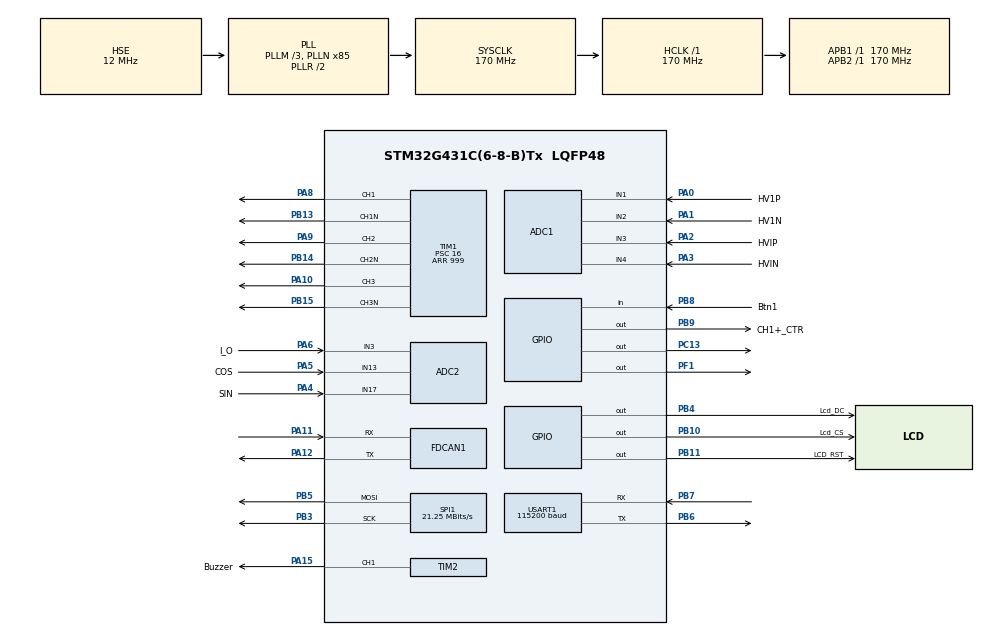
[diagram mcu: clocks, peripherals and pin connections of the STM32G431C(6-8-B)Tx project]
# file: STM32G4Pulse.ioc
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ADC1.Channel-4\#ChannelRegularConversion=ADC_CHANNEL_1
ADC1.Channel-5\#ChannelRegularConversion=ADC_CHANNEL_3
ADC1.DMAContinuousRequests=ENABLE
ADC1.ExternalTrigConv=ADC_EXTERNALTRIG_T7_TRGO
ADC1.NbrOfConversion=2
ADC1.NbrOfConversionFlag=1
ADC1.OffsetNumber-4\#ChannelRegularConversion=ADC_OFFSET_NONE
ADC1.OffsetNumber-5\#ChannelRegularConversion=ADC_OFFSET_NONE
ADC1.OversamplingMode=ENABLE
ADC1.Rank-4\#ChannelRegularConversion=1
ADC1.Rank-5\#ChannelRegularConversion=2
ADC1.Ratio=ADC_OVERSAMPLING_RATIO_256
ADC1.RightBitShift=ADC_RIGHTBITSHIFT_8
ADC1.SamplingTime-4\#ChannelRegularConversion=ADC_SAMPLETIME_12CYCLES_5
ADC1.SamplingTime-5\#ChannelRegularConversion=ADC_SAMPLETIME_12CYCLES_5
ADC1.SingleDiff-4\#ChannelRegularConversion=ADC_DIFFERENTIAL_ENDED
ADC1.SingleDiff-5\#ChannelRegularConversion=ADC_DIFFERENTIAL_ENDED
ADC1.master=1
ADC2.Channel-0\#ChannelRegularConversion=ADC_CHANNEL_3
ADC2.Channel-1\#ChannelRegularConversion=ADC_CHANNEL_13
ADC2.Channel-2\#ChannelRegularConversion=ADC_CHANNEL_17
ADC2.DMAContinuousRequests=ENABLE
ADC2.ExternalTrigConv=ADC_EXTERNALTRIG_T7_TRGO
ADC2.NbrOfConversion=3
ADC2.NbrOfConversionFlag=1
ADC2.OffsetNumber-0\#ChannelRegularConversion=ADC_OFFSET_NONE
ADC2.OffsetNumber-1\#ChannelRegularConversion=ADC_OFFSET_NONE
ADC2.OffsetNumber-2\#ChannelRegularConversion=ADC_OFFSET_NONE
ADC2.OversamplingMode=ENABLE
ADC2.Rank-0\#ChannelRegularConversion=1
ADC2.Rank-1\#ChannelRegularConversion=2
ADC2.Rank-2\#ChannelRegularConversion=3
ADC2.Ratio=ADC_OVERSAMPLING_RATIO_32
ADC2.RightBitShift=ADC_RIGHTBITSHIFT_6
ADC2.SamplingTime-0\#ChannelRegularConversion=ADC_SAMPLETIME_24CYCLES_5
ADC2.SamplingTime-1\#ChannelRegularConversion=ADC_SAMPLETIME_24CYCLES_5
ADC2.SamplingTime-2\#ChannelRegularConversion=ADC_SAMPLETIME_24CYCLES_5
COMP1.Hysteresis=COMP_HYSTERESIS_HIGH
COMP1.InvertingInput=COMP_INPUT_MINUS_DAC3_CH1
COMP1.TriggerMode=COMP_TRIGGERMODE_IT_RISING
COMP2.Hysteresis=COMP_HYSTERESIS_HIGH
COMP2.InvertingInput=COMP_INPUT_MINUS_DAC3_CH2
COMP2.TriggerMode=COMP_TRIGGERMODE_IT_RISING
DAC3.DAC_Channel-DAC_OUT2_Int=DAC_CHANNEL_2
Dma.ADC1.0.Direction=DMA_PERIPH_TO_MEMORY
Dma.ADC1.0.EventEnable=DISABLE
Dma.ADC1.0.Instance=DMA1_Channel1
Dma.ADC1.0.MemDataAlignment=DMA_MDATAALIGN_WORD
Dma.ADC1.0.MemInc=DMA_MINC_ENABLE
Dma.ADC1.0.Mode=DMA_CIRCULAR
Dma.ADC1.0.PeriphDataAlignment=DMA_PDATAALIGN_WORD
Dma.ADC1.0.PeriphInc=DMA_PINC_DISABLE
Dma.ADC1.0.Polarity=HAL_DMAMUX_REQ_GEN_RISING
Dma.ADC1.0.Priority=DMA_PRIORITY_LOW
Dma.ADC1.0.RequestNumber=1
Dma.ADC1.0.SignalID=NONE
Dma.ADC1.0.SyncEnable=DISABLE
Dma.ADC1.0.SyncPolarity=HAL_DMAMUX_SYNC_NO_EVENT
Dma.ADC1.0.SyncRequestNumber=1
Dma.ADC1.0.SyncSignalID=NONE
Dma.ADC2.1.Direction=DMA_PERIPH_TO_MEMORY
Dma.ADC2.1.EventEnable=DISABLE
Dma.ADC2.1.Instance=DMA1_Channel2
Dma.ADC2.1.MemDataAlignment=DMA_MDATAALIGN_WORD
Dma.ADC2.1.MemInc=DMA_MINC_ENABLE
Dma.ADC2.1.Mode=DMA_CIRCULAR
Dma.ADC2.1.PeriphDataAlignment=DMA_PDATAALIGN_WORD
Dma.ADC2.1.PeriphInc=DMA_PINC_DISABLE
Dma.ADC2.1.Polarity=HAL_DMAMUX_REQ_GEN_RISING
Dma.ADC2.1.Priority=DMA_PRIORITY_LOW
Dma.ADC2.1.RequestNumber=1
Dma.ADC2.1.SignalID=NONE
Dma.ADC2.1.SyncEnable=DISABLE
Dma.ADC2.1.SyncPolarity=HAL_DMAMUX_SYNC_NO_EVENT
Dma.ADC2.1.SyncRequestNumber=1
Dma.ADC2.1.SyncSignalID=NONE
Dma.Request0=ADC1
Dma.Request1=ADC2
Dma.Request2=USART1_RX
Dma.Request3=USART1_TX
Dma.USART1_RX.2.Direction=DMA_PERIPH_TO_MEMORY
Dma.USART1_RX.2.EventEnable=DISABLE
Dma.USART1_RX.2.Instance=DMA1_Channel3
Dma.USART1_RX.2.MemDataAlignment=DMA_MDATAALIGN_BYTE
Dma.USART1_RX.2.MemInc=DMA_MINC_ENABLE
Dma.USART1_RX.2.Mode=DMA_NORMAL
Dma.USART1_RX.2.PeriphDataAlignment=DMA_PDATAALIGN_BYTE
Dma.USART1_RX.2.PeriphInc=DMA_PINC_DISABLE
Dma.USART1_RX.2.Polarity=HAL_DMAMUX_REQ_GEN_RISING
Dma.USART1_RX.2.Priority=DMA_PRIORITY_LOW
Dma.USART1_RX.2.RequestNumber=1
Dma.USART1_RX.2.SignalID=NONE
Dma.USART1_RX.2.SyncEnable=DISABLE
Dma.USART1_RX.2.SyncPolarity=HAL_DMAMUX_SYNC_NO_EVENT
Dma.USART1_RX.2.SyncRequestNumber=1
Dma.USART1_RX.2.SyncSignalID=NONE
Dma.USART1_TX.3.Direction=DMA_MEMORY_TO_PERIPH
Dma.USART1_TX.3.EventEnable=DISABLE
Dma.USART1_TX.3.Instance=DMA1_Channel4
Dma.USART1_TX.3.MemDataAlignment=DMA_MDATAALIGN_BYTE
Dma.USART1_TX.3.MemInc=DMA_MINC_ENABLE
Dma.USART1_TX.3.Mode=DMA_NORMAL
Dma.USART1_TX.3.PeriphDataAlignment=DMA_PDATAALIGN_BYTE
Dma.USART1_TX.3.PeriphInc=DMA_PINC_DISABLE
Dma.USART1_TX.3.Polarity=HAL_DMAMUX_REQ_GEN_RISING
Dma.USART1_TX.3.Priority=DMA_PRIORITY_LOW
Dma.USART1_TX.3.RequestNumber=1
Dma.USART1_TX.3.SignalID=NONE
Dma.USART1_TX.3.SyncEnable=DISABLE
Dma.USART1_TX.3.SyncPolarity=HAL_DMAMUX_SYNC_NO_EVENT
Dma.USART1_TX.3.SyncRequestNumber=1
Dma.USART1_TX.3.SyncSignalID=NONE
FDCAN1.CalculateBaudRateNominal=1000000
FDCAN1.CalculateTimeBitNominal=1000
FDCAN1.CalculateTimeQuantumNominal=100.0
FDCAN1.ClockDivider=FDCAN_CLOCK_DIV1
FDCAN1.DataPrescaler=1
FDCAN1.DataTimeSeg1=1
FDCAN1.DataTimeSeg2=1
FDCAN1.ExtFiltersNbr=1
FDCAN1.Mode=FDCAN_MODE_NORMAL
FDCAN1.NominalPrescaler=17
FDCAN1.NominalSyncJumpWidth=2
FDCAN1.NominalTimeSeg1=7
FDCAN1.NominalTimeSeg2=2
FDCAN1.StdFiltersNbr=1
IWDG.Prescaler=IWDG_PRESCALER_32
IWDG.Reload=999
IWDG.Window=999
Mcu.Family=STM32G4
Mcu.Name=STM32G431C(6-8-B)Tx
Mcu.Package=LQFP48
NVIC.COMP1_2_3_IRQn=true\:0\:0\:false\:false\:true\:false\:true\:true
NVIC.DMA1_Channel1_IRQn=true\:0\:0\:false\:false\:true\:false\:true\:true
NVIC.DMA1_Channel2_IRQn=true\:0\:0\:false\:false\:true\:false\:true\:true
NVIC.DMA1_Channel3_IRQn=true\:0\:0\:false\:false\:true\:false\:true\:true
NVIC.DMA1_Channel4_IRQn=true\:0\:0\:false\:false\:true\:false\:true\:true
NVIC.FDCAN1_IT0_IRQn=true\:0\:0\:false\:false\:true\:true\:true\:true
NVIC.PriorityGroup=NVIC_PRIORITYGROUP_4
NVIC.TIM1_BRK_TIM15_IRQn=true\:2\:0\:true\:false\:true\:true\:true\:true
NVIC.TIM1_TRG_COM_TIM17_IRQn=true\:0\:0\:false\:false\:true\:true\:true\:true
NVIC.TIM1_UP_TIM16_IRQn=true\:0\:0\:true\:false\:true\:true\:true\:true
NVIC.TIM6_DAC_IRQn=true\:0\:0\:true\:false\:true\:true\:true\:true
NVIC.TIM8_UP_IRQn=true\:0\:0\:false\:false\:true\:true\:true\:true
NVIC.USART1_IRQn=true\:0\:0\:false\:false\:true\:true\:true\:true
PA0.GPIO_Label=HV1P
PA0.Signal=SharedAnalog_PA0
PA1.GPIO_Label=HV1N
PA1.Signal=SharedAnalog_PA1
PA10.Signal=S_TIM1_CH3
PA11.Mode=FDCAN_Activate
PA11.Signal=FDCAN1_RX
PA12.Mode=FDCAN_Activate
PA12.Signal=FDCAN1_TX
PA13.Mode=Serial_Wire
PA13.Signal=SYS_JTMS-SWDIO
PA14.Mode=Serial_Wire
PA14.Signal=SYS_JTCK-SWCLK
PA15.GPIO_Label=Buzzer
PA15.Signal=S_TIM2_CH1
PA2.GPIO_Label=HVIP
PA2.Signal=SharedAnalog_PA2
PA3.GPIO_Label=HVIN
PA3.Signal=SharedAnalog_PA3
PA4.GPIO_Label=SIN
PA4.Mode=IN17-Single-Ended
PA4.Signal=ADC2_IN17
PA5.GPIO_Label=COS
PA5.Mode=IN13-Single-Ended
PA5.Signal=ADC2_IN13
PA6.GPIO_Label=I_O
PA6.Mode=IN3-Single-Ended
PA6.Signal=ADC2_IN3
PA8.GPIO_ModeDefaultPP=GPIO_MODE_AF_PP
PA8.Signal=S_TIM1_CH1
PA9.Signal=S_TIM1_CH2
PB10.GPIO_Label=Lcd_CS
PB10.GPIO_PuPd=GPIO_PULLUP
PB10.GPIO_Speed=GPIO_SPEED_FREQ_VERY_HIGH
PB10.PinState=GPIO_PIN_SET
PB10.Signal=GPIO_Output
PB11.GPIO_Label=LCD_RST
PB11.GPIO_PuPd=GPIO_PULLDOWN
PB11.PinState=GPIO_PIN_SET
PB11.Signal=GPIO_Output
PB13.Mode=PWM Generation1 CH1 CH1N
PB13.Signal=TIM1_CH1N
PB14.Mode=PWM Generation2 CH2 CH2N
PB14.Signal=TIM1_CH2N
PB15.Mode=PWM Generation3 CH3 CH3N
PB15.Signal=TIM1_CH3N
PB3.Mode=TX_Only_Simplex_Unidirect_Master
PB3.Signal=SPI1_SCK
PB4.GPIO_Label=Lcd_DC
PB4.Signal=GPIO_Output
PB5.Mode=TX_Only_Simplex_Unidirect_Master
PB5.Signal=SPI1_MOSI
PB6.Mode=Asynchronous
PB6.Signal=USART1_TX
PB7.Mode=Asynchronous
PB7.Signal=USART1_RX
PB8-BOOT0.GPIO_Label=Btn1
PB8-BOOT0.GPIO_PuPd=GPIO_PULLDOWN
PB8-BOOT0.Signal=GPIO_Input
PB9.GPIO_Label=CH1+_CTR
PB9.Signal=GPIO_Output
PC13.Signal=GPIO_Output
PF0-OSC_IN.Mode=HSE-External-Clock-Source
PF0-OSC_IN.Signal=RCC_OSC_IN
PF1-OSC_OUT.PinState=GPIO_PIN_RESET
PF1-OSC_OUT.Signal=GPIO_Output
ProjectManager.HeapSize=0x200
ProjectManager.StackSize=0x400
ProjectManager.TargetToolchain=STM32CubeIDE
RCC.ADC12Freq_Value=170000000
RCC.AHBFreq_Value=170000000
RCC.APB1Freq_Value=170000000
RCC.APB1TimFreq_Value=170000000
RCC.APB2Freq_Value=170000000
RCC.APB2TimFreq_Value=170000000
RCC.CortexFreq_Value=170000000
RCC.EXTERNAL_CLOCK_VALUE=12288000
RCC.HCLKFreq_Value=170000000
RCC.HSE_VALUE=12000000
RCC.HSI48_VALUE=48000000
RCC.HSI_VALUE=16000000
RCC.LSE_VALUE=32768
RCC.PLLM=RCC_PLLM_DIV3
RCC.PLLN=85
RCC.PLLSourceVirtual=RCC_PLLSOURCE_HSE
RCC.SYSCLKFreq_VALUE=170000000
RCC.SYSCLKSource=RCC_SYSCLKSOURCE_PLLCLK
RCC.USBFreq_Value=170000000
RCC.VCOOutputFreq_Value=340000000
SH.S_TIM1_CH1.0=TIM1_CH1,PWM Generation1 CH1 CH1N
SH.S_TIM1_CH2.0=TIM1_CH2,PWM Generation2 CH2 CH2N
SH.S_TIM1_CH3.0=TIM1_CH3,PWM Generation3 CH3 CH3N
SH.S_TIM2_CH1.0=TIM2_CH1,PWM Generation1 CH1
SH.SharedAnalog_PA0.0=COMP1_INM
SH.SharedAnalog_PA0.1=ADC1_IN1,IN1-Differential
SH.SharedAnalog_PA1.0=ADC1_IN2,IN1-Differential
SH.SharedAnalog_PA1.1=COMP1_INP,INP
SH.SharedAnalog_PA2.0=COMP2_INM
SH.SharedAnalog_PA2.1=ADC1_IN3,IN3-Differential
SH.SharedAnalog_PA3.0=ADC1_IN4,IN3-Differential
SH.SharedAnalog_PA3.1=COMP2_INP,INP
SPI1.BaudRatePrescaler=SPI_BAUDRATEPRESCALER_8
SPI1.CLKPhase=SPI_PHASE_2EDGE
SPI1.CLKPolarity=SPI_POLARITY_HIGH
SPI1.CalculateBaudRate=21.25 MBits/s
SPI1.DataSize=SPI_DATASIZE_8BIT
SPI1.Direction=SPI_DIRECTION_2LINES
SPI1.Mode=SPI_MODE_MASTER
SPI1.VirtualType=VM_MASTER
STMicroelectronics.X-CUBE-ALGOBUILD.1.4.0.LibraryCcDSPOoLibraryJjDSPOoLibrary=true
TIM1.AutoReloadPreload=TIM_AUTORELOAD_PRELOAD_ENABLE
TIM1.Channel-PWM\ Generation1\ CH1\ CH1N=TIM_CHANNEL_1
TIM1.Channel-PWM\ Generation2\ CH2\ CH2N=TIM_CHANNEL_2
TIM1.Channel-PWM\ Generation3\ CH3\ CH3N=TIM_CHANNEL_3
TIM1.DeadTime=199
TIM1.DeadTimePreload=ENABLE
TIM1.PeriodNoDither=999
TIM1.Prescaler=16
TIM1.PulseNoDither_1=499
TIM1.PulseNoDither_2=499
TIM1.PulseNoDither_3=499
TIM15.PeriodNoDither=999
TIM15.Prescaler=169
TIM16.PeriodNoDither=4999
TIM16.Prescaler=169
TIM17.PeriodNoDither=9999
TIM17.Prescaler=16999
TIM2.AutoReloadPreload=TIM_AUTORELOAD_PRELOAD_ENABLE
TIM2.Channel-PWM\ Generation1\ CH1=TIM_CHANNEL_1
TIM2.PeriodNoDither=249
TIM2.Prescaler=169
TIM2.PulseNoDither_1=124
TIM6.PeriodNoDither=999
TIM6.Prescaler=16
TIM7.PeriodNoDither=99
TIM7.Prescaler=84
TIM7.TIM_MasterOutputTrigger=TIM_TRGO_UPDATE
TIM8.PeriodNoDither=9999
TIM8.Prescaler=169
USART1.BaudRate=115200
USART1.VirtualMode-Asynchronous=VM_ASYNC
VP_COMP1_VS_DAC3OUT1.Mode=INM_DAC3OUT1
VP_COMP2_VS_DAC3OUT2.Mode=INM_DAC3OUT2
VP_DAC3_VS_DACI1.Mode=DAC_OUT1_Int
VP_DAC3_VS_DACI2.Mode=DAC_OUT2_Int
VP_IWDG_VS_IWDG.Mode=IWDG_Activate
VP_STMicroelectronics.X-CUBE-ALGOBUILD_VS_DSPOoLibraryJjLibrary_1.4.0_1.4.0.Mode=DSPOoLibraryJjLibrary
VP_SYS_VS_DBSignals.Mode=DisableDeadBatterySignals
VP_TIM15_VS_ClockSourceINT.Mode=Internal
VP_TIM16_VS_ClockSourceINT.Mode=Enable_Timer
VP_TIM17_VS_ClockSourceINT.Mode=Enable_Timer
VP_TIM1_VS_ClockSourceINT.Mode=Internal
VP_TIM2_VS_ClockSourceINT.Mode=Internal
VP_TIM6_VS_ClockSourceINT.Mode=Enable_Timer
VP_TIM7_VS_ClockSourceINT.Mode=Enable_Timer
VP_TIM8_VS_ClockSourceINT.Mode=Internal
board=custom

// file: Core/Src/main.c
/* USER CODE BEGIN Header */
/**
  ******************************************************************************
  * @file           : main.c
  * @brief          : Main program body
  ******************************************************************************
  * @attention
  *
  * Copyright (c) 2025 STMicroelectronics.
  * All rights reserved.
  *
  * This software is licensed under terms that can be found in the LICENSE file
  * in the root directory of this software component.
  * If no LICENSE file comes with this software, it is provided AS-IS.
  * n
  ******************************************************************************
  */
/* USER CODE END Header */
#include "main.h"

/* USER CODE BEGIN Includes */
#include <Bsp_Can.h>
#include <Bsp_Lcd.h>
#include <Bsp_Lcd_Init.h>
#include <Mid_Command_Usart.h>
#include <Mid_Command_Can.h>
#include <Mid_Control.h>
#include "Mid_Adc.h"
#include "main.h"

#include "APP_EFA.h"

#include "App_Button.h"
#include "App_Led.h"
#include "App_Can.h"
#include "App_Fault.h"
#include "App_Position_Sensor.h"
#include "App_Voltage_Current.h"

#include "Bsp_Adc.h"
#include "Bsp_Usart.h"
#include "Bsp_Can.h"
#include "Bsp_Control.h"

#include "App_Display.h"
#include "App_Button.h"
#include "App_Buzzer.h"

#include "Bsp_Led.h"
#include "Bsp_Button.h"
/* USER CODE END Includes */

/* USER CODE BEGIN PTD */
#define LCD_169_ENABLE
/* USER CODE END PTD */

/* USER CODE BEGIN PM */

/* USER CODE END PV */

Motor EFA_DATA;

/* USER CODE END PM */

ADC_HandleTypeDef hadc1;
ADC_HandleTypeDef hadc2;
DMA_HandleTypeDef hdma_adc1;
DMA_HandleTypeDef hdma_adc2;

COMP_HandleTypeDef hcomp1;
COMP_HandleTypeDef hcomp2;

DAC_HandleTypeDef hdac3;

FDCAN_HandleTypeDef hfdcan1;

IWDG_HandleTypeDef hiwdg;

SPI_HandleTypeDef hspi1;

TIM_HandleTypeDef htim1;
TIM_HandleTypeDef htim2;
TIM_HandleTypeDef htim6;
TIM_HandleTypeDef htim7;
TIM_HandleTypeDef htim8;
TIM_HandleTypeDef htim15;
TIM_HandleTypeDef htim16;
TIM_HandleTypeDef htim17;

UART_HandleTypeDef huart1;
DMA_HandleTypeDef hdma_usart1_rx;
DMA_HandleTypeDef hdma_usart1_tx;

void SystemClock_Config(void);
static void MX_GPIO_Init(void);
static void MX_DMA_Init(void);
static void MX_TIM2_Init(void);
static void MX_TIM1_Init(void);
static void MX_USART1_UART_Init(void);
static void MX_ADC1_Init(void);
static void MX_ADC2_Init(void);
static void MX_TIM7_Init(void);
static void MX_COMP1_Init(void);
static void MX_COMP2_Init(void);
static void MX_DAC3_Init(void);
static void MX_TIM6_Init(void);
static void MX_FDCAN1_Init(void);
static void MX_TIM16_Init(void);
static void MX_TIM17_Init(void);
static void MX_TIM15_Init(void);
static void MX_SPI1_Init(void);
static void MX_TIM8_Init(void);
static void MX_IWDG_Init(void);

/* USER CODE BEGIN 0 */
uint32_t Last_Sys_Time_ms = 0;
/* USER CODE END 0 */

int main(void)
{

  /* MCU Configuration--------------------------------------------------------*/

  /* Reset of all peripherals, Initializes the Flash interface and the Systick. */
  HAL_Init();

  /* Configure the system clock */
  SystemClock_Config();

  /* Initialize all configured peripherals */
  MX_GPIO_Init();
  MX_DMA_Init();
  MX_TIM2_Init();
  MX_TIM1_Init();
  MX_USART1_UART_Init();
  MX_ADC1_Init();
  MX_ADC2_Init();
  MX_TIM7_Init();
  MX_COMP1_Init();
  MX_COMP2_Init();
  MX_DAC3_Init();
  MX_TIM6_Init();
  MX_FDCAN1_Init();
  MX_TIM16_Init();
  MX_TIM17_Init();
  MX_TIM15_Init();
  MX_SPI1_Init();
  MX_TIM8_Init();
  MX_IWDG_Init();
  /* USER CODE BEGIN 2 */

  Bsp_Usart_Init();//板载串口Usart初始化

  Bsp_Close_All_Output();//关闭所有输出

  Bsp_Adc_Init();//板载ADC初始化配置

  Bsp_Can_Init();//板载Can接口初始化

  App_Button_Init();

  EFA_DATA.sin_offset = 1.65f;
  EFA_DATA.cos_offset = 1.65f;//磁栅传感器设置

  #ifdef LCD_169_ENABLE

	  LCD_Init();//LCD初始化
	  LCD_Fill(0,0,LCD_W,LCD_H,WHITE);

	  App_Display_Init();

   #endif

  HAL_TIM_Base_Start_IT(&htim6);//高频计算中断

  HAL_TIM_Base_Start_IT(&htim15);//用于LED状态修改

  HAL_TIM_Base_Start_IT(&htim16);//周期性返回CAN报文

  HAL_TIM_Base_Start_IT(&htim17);//CAN Heart中断

  App_Led_Set_State(SYS_STAT_IDLE);//Led灯状态    SYS_STAT_IDLE  SYS_STAT_WORKING, SYS_STAT_ERROR,

  /* USER CODE END 2 */

  /* Infinite loop */
  while (1)
  {

    /* USER CODE BEGIN 3 */

	  HAL_IWDG_Refresh(&hiwdg);//刷新看门狗

	  Mid_Can_Tx_Task();//Can报文发送任务

	  Mid_Can_Message_Process();//Can报文接收数据处理

	#ifdef LCD_169_ENABLE
	  App_Display_Update();
	#endif

	  if((HAL_GetTick() - Last_Sys_Time_ms) > 20)
	  {
		  Last_Sys_Time_ms = HAL_GetTick();
		  Button_Process();     //周期调用按键处理函数
	  }

	  App_Fault_Task_Handler();//错误处理函数

	  App_Buzzer_Task();//

	  App_Button_Task();

  }
  /* USER CODE END 3 */
}

void SystemClock_Config(void)
{
  RCC_OscInitTypeDef RCC_OscInitStruct = {0};
  RCC_ClkInitTypeDef RCC_ClkInitStruct = {0};

  /** Configure the main internal regulator output voltage
  */
  HAL_PWREx_ControlVoltageScaling(PWR_REGULATOR_VOLTAGE_SCALE1_BOOST);

  /** Initializes the RCC Oscillators according to the specified parameters
  * in the RCC_OscInitTypeDef structure.
  */
  RCC_OscInitStruct.OscillatorType = RCC_OSCILLATORTYPE_LSI|RCC_OSCILLATORTYPE_HSE;
  RCC_OscInitStruct.HSEState = RCC_HSE_BYPASS;
  RCC_OscInitStruct.LSIState = RCC_LSI_ON;
  RCC_OscInitStruct.PLL.PLLState = RCC_PLL_ON;
  RCC_OscInitStruct.PLL.PLLSource = RCC_PLLSOURCE_HSE;
  RCC_OscInitStruct.PLL.PLLM = RCC_PLLM_DIV3;
  RCC_OscInitStruct.PLL.PLLN = 85;
  RCC_OscInitStruct.PLL.PLLP = RCC_PLLP_DIV2;
  RCC_OscInitStruct.PLL.PLLQ = RCC_PLLQ_DIV2;
  RCC_OscInitStruct.PLL.PLLR = RCC_PLLR_DIV2;
  if (HAL_RCC_OscConfig(&RCC_OscInitStruct) != HAL_OK)
  {
    Error_Handler();
  }

  /** Initializes the CPU, AHB and APB buses clocks
  */
  RCC_ClkInitStruct.ClockType = RCC_CLOCKTYPE_HCLK|RCC_CLOCKTYPE_SYSCLK
                              |RCC_CLOCKTYPE_PCLK1|RCC_CLOCKTYPE_PCLK2;
  RCC_ClkInitStruct.SYSCLKSource = RCC_SYSCLKSOURCE_PLLCLK;
  RCC_ClkInitStruct.AHBCLKDivider = RCC_SYSCLK_DIV1;
  RCC_ClkInitStruct.APB1CLKDivider = RCC_HCLK_DIV1;
  RCC_ClkInitStruct.APB2CLKDivider = RCC_HCLK_DIV1;

  if (HAL_RCC_ClockConfig(&RCC_ClkInitStruct, FLASH_LATENCY_4) != HAL_OK)
  {
    Error_Handler();
  }
}

static void MX_ADC1_Init(void)
{

  ADC_MultiModeTypeDef multimode = {0};
  ADC_ChannelConfTypeDef sConfig = {0};

  /** Common config
  */
  hadc1.Instance = ADC1;
  hadc1.Init.ClockPrescaler = ADC_CLOCK_SYNC_PCLK_DIV4;
  hadc1.Init.Resolution = ADC_RESOLUTION_12B;
  hadc1.Init.DataAlign = ADC_DATAALIGN_RIGHT;
  hadc1.Init.GainCompensation = 0;
  hadc1.Init.ScanConvMode = ADC_SCAN_ENABLE;
  hadc1.Init.EOCSelection = ADC_EOC_SINGLE_CONV;
  hadc1.Init.LowPowerAutoWait = DISABLE;
  hadc1.Init.ContinuousConvMode = DISABLE;
  hadc1.Init.NbrOfConversion = 2;
  hadc1.Init.DiscontinuousConvMode = DISABLE;
  hadc1.Init.ExternalTrigConv = ADC_EXTERNALTRIG_T7_TRGO;
  hadc1.Init.ExternalTrigConvEdge = ADC_EXTERNALTRIGCONVEDGE_RISING;
  hadc1.Init.DMAContinuousRequests = ENABLE;
  hadc1.Init.Overrun = ADC_OVR_DATA_PRESERVED;
  hadc1.Init.OversamplingMode = ENABLE;
  hadc1.Init.Oversampling.Ratio = ADC_OVERSAMPLING_RATIO_256;
  hadc1.Init.Oversampling.RightBitShift = ADC_RIGHTBITSHIFT_8;
  hadc1.Init.Oversampling.TriggeredMode = ADC_TRIGGEREDMODE_SINGLE_TRIGGER;
  hadc1.Init.Oversampling.OversamplingStopReset = ADC_REGOVERSAMPLING_CONTINUED_MODE;
  if (HAL_ADC_Init(&hadc1) != HAL_OK)
  {
    Error_Handler();
  }

  /** Configure the ADC multi-mode
  */
  multimode.Mode = ADC_MODE_INDEPENDENT;
  if (HAL_ADCEx_MultiModeConfigChannel(&hadc1, &multimode) != HAL_OK)
  {
    Error_Handler();
  }

  /** Configure Regular Channel
  */
  sConfig.Channel = ADC_CHANNEL_1;
  sConfig.Rank = ADC_REGULAR_RANK_1;
  sConfig.SamplingTime = ADC_SAMPLETIME_12CYCLES_5;
  sConfig.SingleDiff = ADC_DIFFERENTIAL_ENDED;
  sConfig.OffsetNumber = ADC_OFFSET_NONE;
  sConfig.Offset = 0;
  if (HAL_ADC_ConfigChannel(&hadc1, &sConfig) != HAL_OK)
  {
    Error_Handler();
  }

  /** Configure Regular Channel
  */
  sConfig.Channel = ADC_CHANNEL_3;
  sConfig.Rank = ADC_REGULAR_RANK_2;
  if (HAL_ADC_ConfigChannel(&hadc1, &sConfig) != HAL_OK)
  {
    Error_Handler();
  }

}

static void MX_ADC2_Init(void)
{

  ADC_ChannelConfTypeDef sConfig = {0};

  /** Common config
  */
  hadc2.Instance = ADC2;
  hadc2.Init.ClockPrescaler = ADC_CLOCK_SYNC_PCLK_DIV4;
  hadc2.Init.Resolution = ADC_RESOLUTION_12B;
  hadc2.Init.DataAlign = ADC_DATAALIGN_RIGHT;
  hadc2.Init.GainCompensation = 0;
  hadc2.Init.ScanConvMode = ADC_SCAN_ENABLE;
  hadc2.Init.EOCSelection = ADC_EOC_SINGLE_CONV;
  hadc2.Init.LowPowerAutoWait = DISABLE;
  hadc2.Init.ContinuousConvMode = DISABLE;
  hadc2.Init.NbrOfConversion = 3;
  hadc2.Init.DiscontinuousConvMode = DISABLE;
  hadc2.Init.ExternalTrigConv = ADC_EXTERNALTRIG_T7_TRGO;
  hadc2.Init.ExternalTrigConvEdge = ADC_EXTERNALTRIGCONVEDGE_RISING;
  hadc2.Init.DMAContinuousRequests = ENABLE;
  hadc2.Init.Overrun = ADC_OVR_DATA_PRESERVED;
  hadc2.Init.OversamplingMode = ENABLE;
  hadc2.Init.Oversampling.Ratio = ADC_OVERSAMPLING_RATIO_32;
  hadc2.Init.Oversampling.RightBitShift = ADC_RIGHTBITSHIFT_6;
  hadc2.Init.Oversampling.TriggeredMode = ADC_TRIGGEREDMODE_SINGLE_TRIGGER;
  hadc2.Init.Oversampling.OversamplingStopReset = ADC_REGOVERSAMPLING_CONTINUED_MODE;
  if (HAL_ADC_Init(&hadc2) != HAL_OK)
  {
    Error_Handler();
  }

  /** Configure Regular Channel
  */
  sConfig.Channel = ADC_CHANNEL_3;
  sConfig.Rank = ADC_REGULAR_RANK_1;
  sConfig.SamplingTime = ADC_SAMPLETIME_24CYCLES_5;
  sConfig.SingleDiff = ADC_SINGLE_ENDED;
  sConfig.OffsetNumber = ADC_OFFSET_NONE;
  sConfig.Offset = 0;
  if (HAL_ADC_ConfigChannel(&hadc2, &sConfig) != HAL_OK)
  {
    Error_Handler();
  }

  /** Configure Regular Channel
  */
  sConfig.Channel = ADC_CHANNEL_13;
  sConfig.Rank = ADC_REGULAR_RANK_2;
  if (HAL_ADC_ConfigChannel(&hadc2, &sConfig) != HAL_OK)
  {
    Error_Handler();
  }

  /** Configure Regular Channel
  */
  sConfig.Channel = ADC_CHANNEL_17;
  sConfig.Rank = ADC_REGULAR_RANK_3;
  if (HAL_ADC_ConfigChannel(&hadc2, &sConfig) != HAL_OK)
  {
    Error_Handler();
  }

}

static void MX_COMP1_Init(void)
{

  hcomp1.Instance = COMP1;
  hcomp1.Init.InputPlus = COMP_INPUT_PLUS_IO1;
  hcomp1.Init.InputMinus = COMP_INPUT_MINUS_DAC3_CH1;
  hcomp1.Init.OutputPol = COMP_OUTPUTPOL_NONINVERTED;
  hcomp1.Init.Hysteresis = COMP_HYSTERESIS_HIGH;
  hcomp1.Init.BlankingSrce = COMP_BLANKINGSRC_NONE;
  hcomp1.Init.TriggerMode = COMP_TRIGGERMODE_IT_RISING;
  if (HAL_COMP_Init(&hcomp1) != HAL_OK)
  {
    Error_Handler();
  }

}

static void MX_COMP2_Init(void)
{

  hcomp2.Instance = COMP2;
  hcomp2.Init.InputPlus = COMP_INPUT_PLUS_IO2;
  hcomp2.Init.InputMinus = COMP_INPUT_MINUS_DAC3_CH2;
  hcomp2.Init.OutputPol = COMP_OUTPUTPOL_NONINVERTED;
  hcomp2.Init.Hysteresis = COMP_HYSTERESIS_HIGH;
  hcomp2.Init.BlankingSrce = COMP_BLANKINGSRC_NONE;
  hcomp2.Init.TriggerMode = COMP_TRIGGERMODE_IT_RISING;
  if (HAL_COMP_Init(&hcomp2) != HAL_OK)
  {
    Error_Handler();
  }

}

static void MX_DAC3_Init(void)
{

  DAC_ChannelConfTypeDef sConfig = {0};

  /** DAC Initialization
  */
  hdac3.Instance = DAC3;
  if (HAL_DAC_Init(&hdac3) != HAL_OK)
  {
    Error_Handler();
  }

  /** DAC channel OUT1 config
  */
  sConfig.DAC_HighFrequency = DAC_HIGH_FREQUENCY_INTERFACE_MODE_AUTOMATIC;
  sConfig.DAC_DMADoubleDataMode = DISABLE;
  sConfig.DAC_SignedFormat = DISABLE;
  sConfig.DAC_SampleAndHold = DAC_SAMPLEANDHOLD_DISABLE;
  sConfig.DAC_Trigger = DAC_TRIGGER_NONE;
  sConfig.DAC_Trigger2 = DAC_TRIGGER_NONE;
  sConfig.DAC_OutputBuffer = DAC_OUTPUTBUFFER_DISABLE;
  sConfig.DAC_ConnectOnChipPeripheral = DAC_CHIPCONNECT_INTERNAL;
  sConfig.DAC_UserTrimming = DAC_TRIMMING_FACTORY;
  if (HAL_DAC_ConfigChannel(&hdac3, &sConfig, DAC_CHANNEL_1) != HAL_OK)
  {
    Error_Handler();
  }

  /** DAC channel OUT2 config
  */
  if (HAL_DAC_ConfigChannel(&hdac3, &sConfig, DAC_CHANNEL_2) != HAL_OK)
  {
    Error_Handler();
  }

}

static void MX_FDCAN1_Init(void)
{

  hfdcan1.Instance = FDCAN1;
  hfdcan1.Init.ClockDivider = FDCAN_CLOCK_DIV1;
  hfdcan1.Init.FrameFormat = FDCAN_FRAME_CLASSIC;
  hfdcan1.Init.Mode = FDCAN_MODE_NORMAL;
  hfdcan1.Init.AutoRetransmission = DISABLE;
  hfdcan1.Init.TransmitPause = DISABLE;
  hfdcan1.Init.ProtocolException = DISABLE;
  hfdcan1.Init.NominalPrescaler = 17;
  hfdcan1.Init.NominalSyncJumpWidth = 2;
  hfdcan1.Init.NominalTimeSeg1 = 7;
  hfdcan1.Init.NominalTimeSeg2 = 2;
  hfdcan1.Init.DataPrescaler = 1;
  hfdcan1.Init.DataSyncJumpWidth = 1;
  hfdcan1.Init.DataTimeSeg1 = 1;
  hfdcan1.Init.DataTimeSeg2 = 1;
  hfdcan1.Init.StdFiltersNbr = 1;
  hfdcan1.Init.ExtFiltersNbr = 1;
  hfdcan1.Init.TxFifoQueueMode = FDCAN_TX_FIFO_OPERATION;
  if (HAL_FDCAN_Init(&hfdcan1) != HAL_OK)
  {
    Error_Handler();
  }

}

static void MX_IWDG_Init(void)
{

  hiwdg.Instance = IWDG;
  hiwdg.Init.Prescaler = IWDG_PRESCALER_32;
  hiwdg.Init.Window = 999;
  hiwdg.Init.Reload = 999;
  if (HAL_IWDG_Init(&hiwdg) != HAL_OK)
  {
    Error_Handler();
  }

}

static void MX_SPI1_Init(void)
{

  /* SPI1 parameter configuration*/
  hspi1.Instance = SPI1;
  hspi1.Init.Mode = SPI_MODE_MASTER;
  hspi1.Init.Direction = SPI_DIRECTION_2LINES;
  hspi1.Init.DataSize = SPI_DATASIZE_8BIT;
  hspi1.Init.CLKPolarity = SPI_POLARITY_HIGH;
  hspi1.Init.CLKPhase = SPI_PHASE_2EDGE;
  hspi1.Init.NSS = SPI_NSS_SOFT;
  hspi1.Init.BaudRatePrescaler = SPI_BAUDRATEPRESCALER_8;
  hspi1.Init.FirstBit = SPI_FIRSTBIT_MSB;
  hspi1.Init.TIMode = SPI_TIMODE_DISABLE;
  hspi1.Init.CRCCalculation = SPI_CRCCALCULATION_DISABLE;
  hspi1.Init.CRCPolynomial = 7;
  hspi1.Init.CRCLength = SPI_CRC_LENGTH_DATASIZE;
  hspi1.Init.NSSPMode = SPI_NSS_PULSE_DISABLE;
  if (HAL_SPI_Init(&hspi1) != HAL_OK)
  {
    Error_Handler();
  }

}

static void MX_TIM1_Init(void)
{

  TIM_ClockConfigTypeDef sClockSourceConfig = {0};
  TIM_MasterConfigTypeDef sMasterConfig = {0};
  TIM_OC_InitTypeDef sConfigOC = {0};
  TIM_BreakDeadTimeConfigTypeDef sBreakDeadTimeConfig = {0};

  htim1.Instance = TIM1;
  htim1.Init.Prescaler = 16;
  htim1.Init.CounterMode = TIM_COUNTERMODE_UP;
  htim1.Init.Period = 999;
  htim1.Init.ClockDivision = TIM_CLOCKDIVISION_DIV1;
  htim1.Init.RepetitionCounter = 0;
  htim1.Init.AutoReloadPreload = TIM_AUTORELOAD_PRELOAD_ENABLE;
  if (HAL_TIM_Base_Init(&htim1) != HAL_OK)
  {
    Error_Handler();
  }
  sClockSourceConfig.ClockSource = TIM_CLOCKSOURCE_INTERNAL;
  if (HAL_TIM_ConfigClockSource(&htim1, &sClockSourceConfig) != HAL_OK)
  {
    Error_Handler();
  }
  if (HAL_TIM_PWM_Init(&htim1) != HAL_OK)
  {
    Error_Handler();
  }
  sMasterConfig.MasterOutputTrigger = TIM_TRGO_RESET;
  sMasterConfig.MasterOutputTrigger2 = TIM_TRGO2_RESET;
  sMasterConfig.MasterSlaveMode = TIM_MASTERSLAVEMODE_DISABLE;
  if (HAL_TIMEx_MasterConfigSynchronization(&htim1, &sMasterConfig) != HAL_OK)
  {
    Error_Handler();
  }
  sConfigOC.OCMode = TIM_OCMODE_PWM1;
  sConfigOC.Pulse = 499;
  sConfigOC.OCPolarity = TIM_OCPOLARITY_HIGH;
  sConfigOC.OCNPolarity = TIM_OCNPOLARITY_HIGH;
  sConfigOC.OCFastMode = TIM_OCFAST_DISABLE;
  sConfigOC.OCIdleState = TIM_OCIDLESTATE_RESET;
  sConfigOC.OCNIdleState = TIM_OCNIDLESTATE_RESET;
  if (HAL_TIM_PWM_ConfigChannel(&htim1, &sConfigOC, TIM_CHANNEL_1) != HAL_OK)
  {
    Error_Handler();
  }
  if (HAL_TIM_PWM_ConfigChannel(&htim1, &sConfigOC, TIM_CHANNEL_2) != HAL_OK)
  {
    Error_Handler();
  }
  if (HAL_TIM_PWM_ConfigChannel(&htim1, &sConfigOC, TIM_CHANNEL_3) != HAL_OK)
  {
    Error_Handler();
  }
  HAL_TIMEx_EnableDeadTimePreload(&htim1);
  sBreakDeadTimeConfig.OffStateRunMode = TIM_OSSR_DISABLE;
  sBreakDeadTimeConfig.OffStateIDLEMode = TIM_OSSI_DISABLE;
  sBreakDeadTimeConfig.LockLevel = TIM_LOCKLEVEL_OFF;
  sBreakDeadTimeConfig.DeadTime = 199;
  sBreakDeadTimeConfig.BreakState = TIM_BREAK_DISABLE;
  sBreakDeadTimeConfig.BreakPolarity = TIM_BREAKPOLARITY_HIGH;
  sBreakDeadTimeConfig.BreakFilter = 0;
  sBreakDeadTimeConfig.BreakAFMode = TIM_BREAK_AFMODE_INPUT;
  sBreakDeadTimeConfig.Break2State = TIM_BREAK2_DISABLE;
  sBreakDeadTimeConfig.Break2Polarity = TIM_BREAK2POLARITY_HIGH;
  sBreakDeadTimeConfig.Break2Filter = 0;
  sBreakDeadTimeConfig.Break2AFMode = TIM_BREAK_AFMODE_INPUT;
  sBreakDeadTimeConfig.AutomaticOutput = TIM_AUTOMATICOUTPUT_DISABLE;
  if (HAL_TIMEx_ConfigBreakDeadTime(&htim1, &sBreakDeadTimeConfig) != HAL_OK)
  {
    Error_Handler();
  }
  HAL_TIM_MspPostInit(&htim1);

}

static void MX_TIM2_Init(void)
{

  TIM_ClockConfigTypeDef sClockSourceConfig = {0};
  TIM_MasterConfigTypeDef sMasterConfig = {0};
  TIM_OC_InitTypeDef sConfigOC = {0};

  htim2.Instance = TIM2;
  htim2.Init.Prescaler = 169;
  htim2.Init.CounterMode = TIM_COUNTERMODE_UP;
  htim2.Init.Period = 249;
  htim2.Init.ClockDivision = TIM_CLOCKDIVISION_DIV1;
  htim2.Init.AutoReloadPreload = TIM_AUTORELOAD_PRELOAD_ENABLE;
  if (HAL_TIM_Base_Init(&htim2) != HAL_OK)
  {
    Error_Handler();
  }
  sClockSourceConfig.ClockSource = TIM_CLOCKSOURCE_INTERNAL;
  if (HAL_TIM_ConfigClockSource(&htim2, &sClockSourceConfig) != HAL_OK)
  {
    Error_Handler();
  }
  if (HAL_TIM_PWM_Init(&htim2) != HAL_OK)
  {
    Error_Handler();
  }
  sMasterConfig.MasterOutputTrigger = TIM_TRGO_RESET;
  sMasterConfig.MasterSlaveMode = TIM_MASTERSLAVEMODE_DISABLE;
  if (HAL_TIMEx_MasterConfigSynchronization(&htim2, &sMasterConfig) != HAL_OK)
  {
    Error_Handler();
  }
  sConfigOC.OCMode = TIM_OCMODE_PWM1;
  sConfigOC.Pulse = 124;
  sConfigOC.OCPolarity = TIM_OCPOLARITY_HIGH;
  sConfigOC.OCFastMode = TIM_OCFAST_DISABLE;
  if (HAL_TIM_PWM_ConfigChannel(&htim2, &sConfigOC, TIM_CHANNEL_1) != HAL_OK)
  {
    Error_Handler();
  }
  HAL_TIM_MspPostInit(&htim2);

}

static void MX_TIM6_Init(void)
{

  TIM_MasterConfigTypeDef sMasterConfig = {0};

  htim6.Instance = TIM6;
  htim6.Init.Prescaler = 16;
  htim6.Init.CounterMode = TIM_COUNTERMODE_UP;
  htim6.Init.Period = 999;
  htim6.Init.AutoReloadPreload = TIM_AUTORELOAD_PRELOAD_DISABLE;
  if (HAL_TIM_Base_Init(&htim6) != HAL_OK)
  {
    Error_Handler();
  }
  sMasterConfig.MasterOutputTrigger = TIM_TRGO_RESET;
  sMasterConfig.MasterSlaveMode = TIM_MASTERSLAVEMODE_DISABLE;
  if (HAL_TIMEx_MasterConfigSynchronization(&htim6, &sMasterConfig) != HAL_OK)
  {
    Error_Handler();
  }

}

static void MX_TIM7_Init(void)
{

  TIM_MasterConfigTypeDef sMasterConfig = {0};

  htim7.Instance = TIM7;
  htim7.Init.Prescaler = 84;
  htim7.Init.CounterMode = TIM_COUNTERMODE_UP;
  htim7.Init.Period = 99;
  htim7.Init.AutoReloadPreload = TIM_AUTORELOAD_PRELOAD_DISABLE;
  if (HAL_TIM_Base_Init(&htim7) != HAL_OK)
  {
    Error_Handler();
  }
  sMasterConfig.MasterOutputTrigger = TIM_TRGO_UPDATE;
  sMasterConfig.MasterSlaveMode = TIM_MASTERSLAVEMODE_DISABLE;
  if (HAL_TIMEx_MasterConfigSynchronization(&htim7, &sMasterConfig) != HAL_OK)
  {
    Error_Handler();
  }

}

static void MX_TIM8_Init(void)
{

  TIM_ClockConfigTypeDef sClockSourceConfig = {0};
  TIM_MasterConfigTypeDef sMasterConfig = {0};

  htim8.Instance = TIM8;
  htim8.Init.Prescaler = 169;
  htim8.Init.CounterMode = TIM_COUNTERMODE_UP;
  htim8.Init.Period = 9999;
  htim8.Init.ClockDivision = TIM_CLOCKDIVISION_DIV1;
  htim8.Init.RepetitionCounter = 0;
  htim8.Init.AutoReloadPreload = TIM_AUTORELOAD_PRELOAD_DISABLE;
  if (HAL_TIM_Base_Init(&htim8) != HAL_OK)
  {
    Error_Handler();
  }
  sClockSourceConfig.ClockSource = TIM_CLOCKSOURCE_INTERNAL;
  if (HAL_TIM_ConfigClockSource(&htim8, &sClockSourceConfig) != HAL_OK)
  {
    Error_Handler();
  }
  sMasterConfig.MasterOutputTrigger = TIM_TRGO_RESET;
  sMasterConfig.MasterOutputTrigger2 = TIM_TRGO2_RESET;
  sMasterConfig.MasterSlaveMode = TIM_MASTERSLAVEMODE_DISABLE;
  if (HAL_TIMEx_MasterConfigSynchronization(&htim8, &sMasterConfig) != HAL_OK)
  {
    Error_Handler();
  }

}

static void MX_TIM15_Init(void)
{

  TIM_ClockConfigTypeDef sClockSourceConfig = {0};
  TIM_MasterConfigTypeDef sMasterConfig = {0};

  htim15.Instance = TIM15;
  htim15.Init.Prescaler = 169;
  htim15.Init.CounterMode = TIM_COUNTERMODE_UP;
  htim15.Init.Period = 999;
  htim15.Init.ClockDivision = TIM_CLOCKDIVISION_DIV1;
  htim15.Init.RepetitionCounter = 0;
  htim15.Init.AutoReloadPreload = TIM_AUTORELOAD_PRELOAD_DISABLE;
  if (HAL_TIM_Base_Init(&htim15) != HAL_OK)
  {
    Error_Handler();
  }
  sClockSourceConfig.ClockSource = TIM_CLOCKSOURCE_INTERNAL;
  if (HAL_TIM_ConfigClockSource(&htim15, &sClockSourceConfig) != HAL_OK)
  {
    Error_Handler();
  }
  sMasterConfig.MasterOutputTrigger = TIM_TRGO_RESET;
  sMasterConfig.MasterSlaveMode = TIM_MASTERSLAVEMODE_DISABLE;
  if (HAL_TIMEx_MasterConfigSynchronization(&htim15, &sMasterConfig) != HAL_OK)
  {
    Error_Handler();
  }

}

static void MX_TIM16_Init(void)
{

  htim16.Instance = TIM16;
  htim16.Init.Prescaler = 169;
  htim16.Init.CounterMode = TIM_COUNTERMODE_UP;
  htim16.Init.Period = 4999;
  htim16.Init.ClockDivision = TIM_CLOCKDIVISION_DIV1;
  htim16.Init.RepetitionCounter = 0;
  htim16.Init.AutoReloadPreload = TIM_AUTORELOAD_PRELOAD_DISABLE;
  if (HAL_TIM_Base_Init(&htim16) != HAL_OK)
  {
    Error_Handler();
  }

}

static void MX_TIM17_Init(void)
{

  htim17.Instance = TIM17;
  htim17.Init.Prescaler = 16999;
  htim17.Init.CounterMode = TIM_COUNTERMODE_UP;
  htim17.Init.Period = 9999;
  htim17.Init.ClockDivision = TIM_CLOCKDIVISION_DIV1;
  htim17.Init.RepetitionCounter = 0;
  htim17.Init.AutoReloadPreload = TIM_AUTORELOAD_PRELOAD_DISABLE;
  if (HAL_TIM_Base_Init(&htim17) != HAL_OK)
  {
    Error_Handler();
  }

}

static void MX_USART1_UART_Init(void)
{

  huart1.Instance = USART1;
  huart1.Init.BaudRate = 115200;
  huart1.Init.WordLength = UART_WORDLENGTH_8B;
  huart1.Init.StopBits = UART_STOPBITS_1;
  huart1.Init.Parity = UART_PARITY_NONE;
  huart1.Init.Mode = UART_MODE_TX_RX;
  huart1.Init.HwFlowCtl = UART_HWCONTROL_NONE;
  huart1.Init.OverSampling = UART_OVERSAMPLING_16;
  huart1.Init.OneBitSampling = UART_ONE_BIT_SAMPLE_DISABLE;
  huart1.Init.ClockPrescaler = UART_PRESCALER_DIV1;
  huart1.AdvancedInit.AdvFeatureInit = UART_ADVFEATURE_NO_INIT;
  if (HAL_UART_Init(&huart1) != HAL_OK)
  {
    Error_Handler();
  }
  if (HAL_UARTEx_SetTxFifoThreshold(&huart1, UART_TXFIFO_THRESHOLD_1_8) != HAL_OK)
  {
    Error_Handler();
  }
  if (HAL_UARTEx_SetRxFifoThreshold(&huart1, UART_RXFIFO_THRESHOLD_1_8) != HAL_OK)
  {
    Error_Handler();
  }
  if (HAL_UARTEx_DisableFifoMode(&huart1) != HAL_OK)
  {
    Error_Handler();
  }

}

static void MX_DMA_Init(void)
{

  /* DMA controller clock enable */
  __HAL_RCC_DMAMUX1_CLK_ENABLE();
  __HAL_RCC_DMA1_CLK_ENABLE();

  /* DMA interrupt init */
  /* DMA1_Channel1_IRQn interrupt configuration */
  HAL_NVIC_SetPriority(DMA1_Channel1_IRQn, 0, 0);
  HAL_NVIC_EnableIRQ(DMA1_Channel1_IRQn);
  /* DMA1_Channel2_IRQn interrupt configuration */
  HAL_NVIC_SetPriority(DMA1_Channel2_IRQn, 0, 0);
  HAL_NVIC_EnableIRQ(DMA1_Channel2_IRQn);
  /* DMA1_Channel3_IRQn interrupt configuration */
  HAL_NVIC_SetPriority(DMA1_Channel3_IRQn, 0, 0);
  HAL_NVIC_EnableIRQ(DMA1_Channel3_IRQn);
  /* DMA1_Channel4_IRQn interrupt configuration */
  HAL_NVIC_SetPriority(DMA1_Channel4_IRQn, 0, 0);
  HAL_NVIC_EnableIRQ(DMA1_Channel4_IRQn);

}

static void MX_GPIO_Init(void)
{
  GPIO_InitTypeDef GPIO_InitStruct = {0};

  /* GPIO Ports Clock Enable */
  __HAL_RCC_GPIOC_CLK_ENABLE();
  __HAL_RCC_GPIOF_CLK_ENABLE();
  __HAL_RCC_GPIOA_CLK_ENABLE();
  __HAL_RCC_GPIOB_CLK_ENABLE();

  /*Configure GPIO pin Output Level */
  HAL_GPIO_WritePin(GPIOC, GPIO_PIN_13, GPIO_PIN_RESET);

  /*Configure GPIO pin Output Level */
  HAL_GPIO_WritePin(GPIOF, GPIO_PIN_1, GPIO_PIN_RESET);

  /*Configure GPIO pin Output Level */
  HAL_GPIO_WritePin(GPIOB, Lcd_CS_Pin|LCD_RST_Pin, GPIO_PIN_SET);

  /*Configure GPIO pin Output Level */
  HAL_GPIO_WritePin(GPIOB, Lcd_DC_Pin|CH1__CTR_Pin, GPIO_PIN_RESET);

  /*Configure GPIO pin : PC13 */
  GPIO_InitStruct.Pin = GPIO_PIN_13;
  GPIO_InitStruct.Mode = GPIO_MODE_OUTPUT_PP;
  GPIO_InitStruct.Pull = GPIO_NOPULL;
  GPIO_InitStruct.Speed = GPIO_SPEED_FREQ_LOW;
  HAL_GPIO_Init(GPIOC, &GPIO_InitStruct);

  /*Configure GPIO pin : PF1 */
  GPIO_InitStruct.Pin = GPIO_PIN_1;
  GPIO_InitStruct.Mode = GPIO_MODE_OUTPUT_PP;
  GPIO_InitStruct.Pull = GPIO_NOPULL;
  GPIO_InitStruct.Speed = GPIO_SPEED_FREQ_LOW;
  HAL_GPIO_Init(GPIOF, &GPIO_InitStruct);

  /*Configure GPIO pin : Lcd_CS_Pin */
  GPIO_InitStruct.Pin = Lcd_CS_Pin;
  GPIO_InitStruct.Mode = GPIO_MODE_OUTPUT_PP;
  GPIO_InitStruct.Pull = GPIO_PULLUP;
  GPIO_InitStruct.Speed = GPIO_SPEED_FREQ_VERY_HIGH;
  HAL_GPIO_Init(Lcd_CS_GPIO_Port, &GPIO_InitStruct);

  /*Configure GPIO pin : LCD_RST_Pin */
  GPIO_InitStruct.Pin = LCD_RST_Pin;
  GPIO_InitStruct.Mode = GPIO_MODE_OUTPUT_PP;
  GPIO_InitStruct.Pull = GPIO_PULLDOWN;
  GPIO_InitStruct.Speed = GPIO_SPEED_FREQ_LOW;
  HAL_GPIO_Init(LCD_RST_GPIO_Port, &GPIO_InitStruct);

  /*Configure GPIO pins : Lcd_DC_Pin CH1__CTR_Pin */
  GPIO_InitStruct.Pin = Lcd_DC_Pin|CH1__CTR_Pin;
  GPIO_InitStruct.Mode = GPIO_MODE_OUTPUT_PP;
  GPIO_InitStruct.Pull = GPIO_NOPULL;
  GPIO_InitStruct.Speed = GPIO_SPEED_FREQ_LOW;
  HAL_GPIO_Init(GPIOB, &GPIO_InitStruct);

  /*Configure GPIO pin : Btn1_Pin */
  GPIO_InitStruct.Pin = Btn1_Pin;
  GPIO_InitStruct.Mode = GPIO_MODE_INPUT;
  GPIO_InitStruct.Pull = GPIO_PULLDOWN;
  HAL_GPIO_Init(Btn1_GPIO_Port, &GPIO_InitStruct);

}

void Error_Handler(void)
{
  __disable_irq();
  while (1)
  {
  }
}
